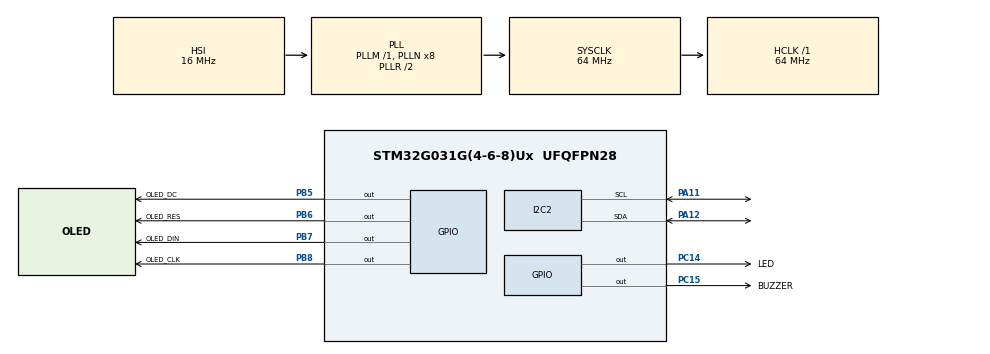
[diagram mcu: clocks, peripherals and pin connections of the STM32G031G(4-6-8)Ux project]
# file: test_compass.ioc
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I2C2.Timing=0x10707DBC
Mcu.Family=STM32G0
Mcu.Name=STM32G031G(4-6-8)Ux
Mcu.Package=UFQFPN28
PA11\ [PA9].GPIO_Pu=GPIO_PULLUP
PA11\ [PA9].Mode=I2C
PA11\ [PA9].PinState=GPIO_PIN_SET
PA11\ [PA9].Signal=I2C2_SCL
PA12\ [PA10].GPIO_Pu=GPIO_PULLUP
PA12\ [PA10].Mode=I2C
PA12\ [PA10].PinState=GPIO_PIN_SET
PA12\ [PA10].Signal=I2C2_SDA
PA13.Mode=Serial_Wire
PA13.Signal=SYS_SWDIO
PA14-BOOT0.Mode=Serial_Wire
PA14-BOOT0.Signal=SYS_SWCLK
PB5.GPIO_Label=OLED_DC
PB5.GPIO_Speed=GPIO_SPEED_FREQ_HIGH
PB5.Signal=GPIO_Output
PB6.GPIO_Label=OLED_RES
PB6.GPIO_Speed=GPIO_SPEED_FREQ_HIGH
PB6.Signal=GPIO_Output
PB7.GPIO_Label=OLED_DIN
PB7.GPIO_Speed=GPIO_SPEED_FREQ_HIGH
PB7.Signal=GPIO_Output
PB8.GPIO_Label=OLED_CLK
PB8.GPIO_Speed=GPIO_SPEED_FREQ_HIGH
PB8.Signal=GPIO_Output
PC14-OSC32_IN\ (PC14).GPIO_Label=LED
PC14-OSC32_IN\ (PC14).Signal=GPIO_Output
PC15-OSC32_OUT\ (PC15).GPIO_Label=BUZZER
PC15-OSC32_OUT\ (PC15).Signal=GPIO_Output
ProjectManager.HeapSize=0x200
ProjectManager.StackSize=0x400
ProjectManager.TargetToolchain=STM32CubeIDE
RCC.ADCFreq_Value=64000000
RCC.AHBFreq_Value=64000000
RCC.CortexFreq_Value=64000000
RCC.EXTERNAL_CLOCK_VALUE=12288000
RCC.HCLKFreq_Value=64000000
RCC.HSE_VALUE=8000000
RCC.HSI_VALUE=16000000
RCC.LSE_VALUE=32768
RCC.SYSCLKFreq_VALUE=64000000
RCC.SYSCLKSource=RCC_SYSCLKSOURCE_PLLCLK
RCC.VCOOutputFreq_Value=128000000
board=custom

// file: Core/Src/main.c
/* USER CODE BEGIN Header */
/**
  ******************************************************************************
  * @file           : main.c
  * @brief          : Main program body
  ******************************************************************************
  * @attention
  *
  * Copyright (c) 2021 STMicroelectronics.
  * All rights reserved.
  *
  * This software is licensed under terms that can be found in the LICENSE file
  * in the root directory of this software component.
  * If no LICENSE file comes with this software, it is provided AS-IS.
  *
  ******************************************************************************
  */
/* USER CODE END Header */
#include "main.h"
#include "i2c.h"
#include "gpio.h"
#include "math.h"
/* USER CODE BEGIN Includes */
#include "BM1422.h"
/* USER CODE END Includes */

void SystemClock_Config(void);

int main(void)
{
  /* USER CODE BEGIN 1 */
  uint8_t a;
  float mag[3];
  float ang;
  /* USER CODE END 1 */

  /* MCU Configuration--------------------------------------------------------*/

  /* Reset of all peripherals, Initializes the Flash interface and the Systick. */
  HAL_Init();

  /* Configure the system clock */
  SystemClock_Config();

  /* Initialize all configured peripherals */
  MX_GPIO_Init();
  MX_I2C2_Init();
  /* USER CODE BEGIN 2 */
  OLED_Init();
  setBM1422AGMV(0x0E<<1);
  a = BM1422AGMVinit();
  /* USER CODE END 2 */

  /* Infinite loop */
  /* USER CODE BEGIN WHILE */
  while (1)
  {

      OLED_Clear();
      OLED_ShowString(0, 0 , "compass", 8,1);
	  BM1422AGMVget_val(&mag);
	  ang = atan2(mag[1],mag[0]);
	  OLED_DrawLine(64, 64, (uint8_t)(64+60*sinf(ang)), (uint8_t)(64+60*cosf(ang)), 1);
	  OLED_Refresh();
	  HAL_GPIO_WritePin(LED_GPIO_Port,LED_Pin,GPIO_PIN_RESET);
	  HAL_Delay(5);
	  HAL_GPIO_WritePin(LED_GPIO_Port,LED_Pin,GPIO_PIN_SET);
	  HAL_Delay(5);

    /* USER CODE END WHILE */

  }
}

void SystemClock_Config(void)
{
  RCC_OscInitTypeDef RCC_OscInitStruct = {0};
  RCC_ClkInitTypeDef RCC_ClkInitStruct = {0};

  /** Configure the main internal regulator output voltage
  */
  HAL_PWREx_ControlVoltageScaling(PWR_REGULATOR_VOLTAGE_SCALE1);
  /** Initializes the RCC Oscillators according to the specified parameters
  * in the RCC_OscInitTypeDef structure.
  */
  RCC_OscInitStruct.OscillatorType = RCC_OSCILLATORTYPE_HSI;
  RCC_OscInitStruct.HSIState = RCC_HSI_ON;
  RCC_OscInitStruct.HSIDiv = RCC_HSI_DIV1;
  RCC_OscInitStruct.HSICalibrationValue = RCC_HSICALIBRATION_DEFAULT;
  RCC_OscInitStruct.PLL.PLLState = RCC_PLL_ON;
  RCC_OscInitStruct.PLL.PLLSource = RCC_PLLSOURCE_HSI;
  RCC_OscInitStruct.PLL.PLLM = RCC_PLLM_DIV1;
  RCC_OscInitStruct.PLL.PLLN = 8;
  RCC_OscInitStruct.PLL.PLLP = RCC_PLLP_DIV2;
  RCC_OscInitStruct.PLL.PLLQ = RCC_PLLQ_DIV2;
  RCC_OscInitStruct.PLL.PLLR = RCC_PLLR_DIV2;
  if (HAL_RCC_OscConfig(&RCC_OscInitStruct) != HAL_OK)
  {
    Error_Handler();
  }
  /** Initializes the CPU, AHB and APB buses clocks
  */
  RCC_ClkInitStruct.ClockType = RCC_CLOCKTYPE_HCLK|RCC_CLOCKTYPE_SYSCLK
                              |RCC_CLOCKTYPE_PCLK1;
  RCC_ClkInitStruct.SYSCLKSource = RCC_SYSCLKSOURCE_PLLCLK;
  RCC_ClkInitStruct.AHBCLKDivider = RCC_SYSCLK_DIV1;
  RCC_ClkInitStruct.APB1CLKDivider = RCC_HCLK_DIV1;

  if (HAL_RCC_ClockConfig(&RCC_ClkInitStruct, FLASH_LATENCY_2) != HAL_OK)
  {
    Error_Handler();
  }
}

void Error_Handler(void)
{
  __disable_irq();
  while (1)
  {
  }
}
